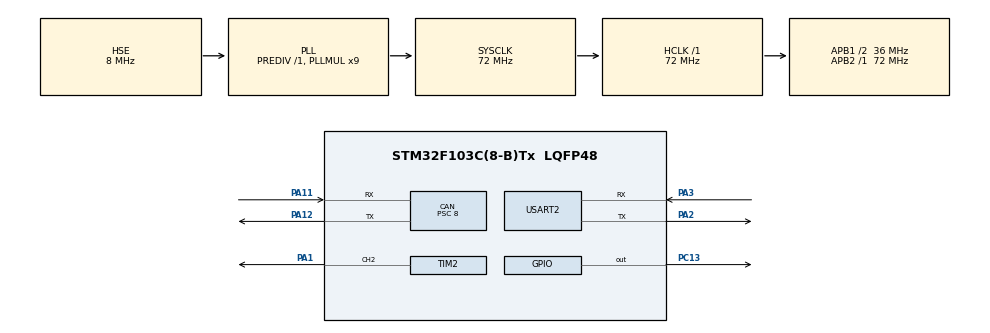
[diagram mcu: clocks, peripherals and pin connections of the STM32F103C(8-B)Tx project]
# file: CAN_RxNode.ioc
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CAN.BS1=CAN_BS1_15TQ
CAN.BS2=CAN_BS2_2TQ
CAN.CalculateBaudRate=250000
CAN.CalculateTimeBit=4000
CAN.CalculateTimeQuantum=222.22222222222223
CAN.Prescaler=8
CAN.RFLM=DISABLE
Mcu.Family=STM32F1
Mcu.Name=STM32F103C(8-B)Tx
Mcu.Package=LQFP48
NVIC.PriorityGroup=NVIC_PRIORITYGROUP_4
NVIC.USB_LP_CAN1_RX0_IRQn=true\:0\:0\:false\:false\:true\:true\:true\:true
PA1.Signal=S_TIM2_CH2
PA11.Mode=CAN_Activate
PA11.Signal=CAN_RX
PA12.Mode=CAN_Activate
PA12.Signal=CAN_TX
PA13.Mode=Serial_Wire
PA13.Signal=SYS_JTMS-SWDIO
PA14.Mode=Serial_Wire
PA14.Signal=SYS_JTCK-SWCLK
PA2.Mode=Asynchronous
PA2.Signal=USART2_TX
PA3.Mode=Asynchronous
PA3.Signal=USART2_RX
PC13-TAMPER-RTC.PinState=GPIO_PIN_SET
PC13-TAMPER-RTC.Signal=GPIO_Output
PD0-OSC_IN.Mode=HSE-External-Oscillator
PD0-OSC_IN.Signal=RCC_OSC_IN
PD1-OSC_OUT.Mode=HSE-External-Oscillator
PD1-OSC_OUT.Signal=RCC_OSC_OUT
ProjectManager.HeapSize=0x200
ProjectManager.StackSize=0x400
ProjectManager.TargetToolchain=CMake
RCC.AHBFreq_Value=72000000
RCC.APB1CLKDivider=RCC_HCLK_DIV2
RCC.APB1Freq_Value=36000000
RCC.APB1TimFreq_Value=72000000
RCC.APB2Freq_Value=72000000
RCC.APB2TimFreq_Value=72000000
RCC.HCLKFreq_Value=72000000
RCC.PLLMUL=RCC_PLL_MUL9
RCC.PLLSourceVirtual=RCC_PLLSOURCE_HSE
RCC.SYSCLKFreq_VALUE=72000000
RCC.SYSCLKSource=RCC_SYSCLKSOURCE_PLLCLK
RCC.USBFreq_Value=72000000
SH.S_TIM2_CH2.0=TIM2_CH2,PWM Generation2 CH2
TIM2.AutoReloadPreload=TIM_AUTORELOAD_PRELOAD_ENABLE
TIM2.Channel-PWM\ Generation2\ CH2=TIM_CHANNEL_2
TIM2.Period=19999
TIM2.Prescaler=71
USART2.VirtualMode=VM_ASYNC
VP_TIM2_VS_ClockSourceINT.Mode=Internal
board=custom

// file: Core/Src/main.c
/* USER CODE BEGIN Header */
/**
  ******************************************************************************
  * @file           : main.c
  * @brief          : Main program body
  ******************************************************************************
  * @attention
  *
  * Copyright (c) 2025 STMicroelectronics.
  * All rights reserved.
  *
  * This software is licensed under terms that can be found in the LICENSE file
  * in the root directory of this software component.
  * If no LICENSE file comes with this software, it is provided AS-IS.
  *
  ******************************************************************************
  */
/* USER CODE END Header */
#include "main.h"

CAN_HandleTypeDef hcan;

TIM_HandleTypeDef htim2;

UART_HandleTypeDef huart2;

void SystemClock_Config(void);
static void MX_GPIO_Init(void);
static void MX_CAN_Init(void);
static void MX_USART2_UART_Init(void);
static void MX_TIM2_Init(void);

/* USER CODE BEGIN 0 */
void CAN_Init_Filter(void)
{
  CAN_FilterTypeDef sFilterConfig;
  sFilterConfig.FilterBank = 0;
  sFilterConfig.FilterMode = CAN_FILTERMODE_IDMASK;
  sFilterConfig.FilterScale = CAN_FILTERSCALE_32BIT;
  sFilterConfig.FilterIdHigh = 0x123 << 5;  // Standard ID left-aligned in 32-bit register
  sFilterConfig.FilterIdLow = 0x0000;
  sFilterConfig.FilterMaskIdHigh = 0x1FFF << 5;  // Check all 11 bits of STD ID
  sFilterConfig.FilterMaskIdLow = 0x0000;
  sFilterConfig.FilterFIFOAssignment = CAN_FILTER_FIFO0;
  sFilterConfig.FilterActivation = ENABLE;
  sFilterConfig.SlaveStartFilterBank = 14;

  if (HAL_CAN_ConfigFilter(&hcan, &sFilterConfig) != HAL_OK)
  {
    Error_Handler();
  }
}
/* USER CODE END 0 */

int main(void)
{

  /* MCU Configuration--------------------------------------------------------*/

  /* Reset of all peripherals, Initializes the Flash interface and the Systick. */
  HAL_Init();

  /* Configure the system clock */
  SystemClock_Config();

  /* Initialize all configured peripherals */
  MX_GPIO_Init();
   HAL_NVIC_SetPriority(CAN1_RX0_IRQn, 0, 0);
  HAL_NVIC_EnableIRQ(CAN1_RX0_IRQn);
  MX_CAN_Init();
  MX_USART2_UART_Init();
  MX_TIM2_Init();
  /* USER CODE BEGIN 2 */
  CAN_Init_Filter();
  HAL_CAN_Start(&hcan);
  HAL_CAN_ActivateNotification(&hcan, CAN_IT_RX_FIFO0_MSG_PENDING);
  HAL_UART_Transmit(&huart2, (uint8_t*)"CAN RX Ready\r\n", 14, HAL_MAX_DELAY);
  HAL_TIM_PWM_Start(&htim2, TIM_CHANNEL_2);

  /* USER CODE END 2 */

  /* Infinite loop */
  while (1)
  {

  }
}

void SystemClock_Config(void)
{
  RCC_OscInitTypeDef RCC_OscInitStruct = {0};
  RCC_ClkInitTypeDef RCC_ClkInitStruct = {0};

  /** Initializes the RCC Oscillators according to the specified parameters
  * in the RCC_OscInitTypeDef structure.
  */
  RCC_OscInitStruct.OscillatorType = RCC_OSCILLATORTYPE_HSE;
  RCC_OscInitStruct.HSEState = RCC_HSE_ON;
  RCC_OscInitStruct.HSEPredivValue = RCC_HSE_PREDIV_DIV1;
  RCC_OscInitStruct.HSIState = RCC_HSI_ON;
  RCC_OscInitStruct.PLL.PLLState = RCC_PLL_ON;
  RCC_OscInitStruct.PLL.PLLSource = RCC_PLLSOURCE_HSE;
  RCC_OscInitStruct.PLL.PLLMUL = RCC_PLL_MUL9;
  if (HAL_RCC_OscConfig(&RCC_OscInitStruct) != HAL_OK)
  {
    Error_Handler();
  }

  /** Initializes the CPU, AHB and APB buses clocks
  */
  RCC_ClkInitStruct.ClockType = RCC_CLOCKTYPE_HCLK|RCC_CLOCKTYPE_SYSCLK
                              |RCC_CLOCKTYPE_PCLK1|RCC_CLOCKTYPE_PCLK2;
  RCC_ClkInitStruct.SYSCLKSource = RCC_SYSCLKSOURCE_PLLCLK;
  RCC_ClkInitStruct.AHBCLKDivider = RCC_SYSCLK_DIV1;
  RCC_ClkInitStruct.APB1CLKDivider = RCC_HCLK_DIV2;
  RCC_ClkInitStruct.APB2CLKDivider = RCC_HCLK_DIV1;

  if (HAL_RCC_ClockConfig(&RCC_ClkInitStruct, FLASH_LATENCY_2) != HAL_OK)
  {
    Error_Handler();
  }
}

static void MX_CAN_Init(void)
{

  hcan.Instance = CAN1;
  hcan.Init.Prescaler = 8;
  hcan.Init.Mode = CAN_MODE_NORMAL;
  hcan.Init.SyncJumpWidth = CAN_SJW_1TQ;
  hcan.Init.TimeSeg1 = CAN_BS1_15TQ;
  hcan.Init.TimeSeg2 = CAN_BS2_2TQ;
  hcan.Init.TimeTriggeredMode = DISABLE;
  hcan.Init.AutoBusOff = DISABLE;
  hcan.Init.AutoWakeUp = DISABLE;
  hcan.Init.AutoRetransmission = DISABLE;
  hcan.Init.ReceiveFifoLocked = DISABLE;
  hcan.Init.TransmitFifoPriority = DISABLE;
  if (HAL_CAN_Init(&hcan) != HAL_OK)
  {
    Error_Handler();
  }

}

static void MX_TIM2_Init(void)
{

  TIM_ClockConfigTypeDef sClockSourceConfig = {0};
  TIM_MasterConfigTypeDef sMasterConfig = {0};
  TIM_OC_InitTypeDef sConfigOC = {0};

  htim2.Instance = TIM2;
  htim2.Init.Prescaler = 71;
  htim2.Init.CounterMode = TIM_COUNTERMODE_UP;
  htim2.Init.Period = 19999;
  htim2.Init.ClockDivision = TIM_CLOCKDIVISION_DIV1;
  htim2.Init.AutoReloadPreload = TIM_AUTORELOAD_PRELOAD_ENABLE;
  if (HAL_TIM_Base_Init(&htim2) != HAL_OK)
  {
    Error_Handler();
  }
  sClockSourceConfig.ClockSource = TIM_CLOCKSOURCE_INTERNAL;
  if (HAL_TIM_ConfigClockSource(&htim2, &sClockSourceConfig) != HAL_OK)
  {
    Error_Handler();
  }
  if (HAL_TIM_PWM_Init(&htim2) != HAL_OK)
  {
    Error_Handler();
  }
  sMasterConfig.MasterOutputTrigger = TIM_TRGO_RESET;
  sMasterConfig.MasterSlaveMode = TIM_MASTERSLAVEMODE_DISABLE;
  if (HAL_TIMEx_MasterConfigSynchronization(&htim2, &sMasterConfig) != HAL_OK)
  {
    Error_Handler();
  }
  sConfigOC.OCMode = TIM_OCMODE_PWM1;
  sConfigOC.Pulse = 0;
  sConfigOC.OCPolarity = TIM_OCPOLARITY_HIGH;
  sConfigOC.OCFastMode = TIM_OCFAST_DISABLE;
  if (HAL_TIM_PWM_ConfigChannel(&htim2, &sConfigOC, TIM_CHANNEL_2) != HAL_OK)
  {
    Error_Handler();
  }
  HAL_TIM_MspPostInit(&htim2);

}

static void MX_USART2_UART_Init(void)
{

  huart2.Instance = USART2;
  huart2.Init.BaudRate = 115200;
  huart2.Init.WordLength = UART_WORDLENGTH_8B;
  huart2.Init.StopBits = UART_STOPBITS_1;
  huart2.Init.Parity = UART_PARITY_NONE;
  huart2.Init.Mode = UART_MODE_TX_RX;
  huart2.Init.HwFlowCtl = UART_HWCONTROL_NONE;
  huart2.Init.OverSampling = UART_OVERSAMPLING_16;
  if (HAL_UART_Init(&huart2) != HAL_OK)
  {
    Error_Handler();
  }

}

static void MX_GPIO_Init(void)
{
  GPIO_InitTypeDef GPIO_InitStruct = {0};

  /* GPIO Ports Clock Enable */
  __HAL_RCC_GPIOC_CLK_ENABLE();
  __HAL_RCC_GPIOD_CLK_ENABLE();
  __HAL_RCC_GPIOA_CLK_ENABLE();

  /*Configure GPIO pin Output Level */
  HAL_GPIO_WritePin(GPIOC, GPIO_PIN_13, GPIO_PIN_SET);

  /*Configure GPIO pin : PC13 */
  GPIO_InitStruct.Pin = GPIO_PIN_13;
  GPIO_InitStruct.Mode = GPIO_MODE_OUTPUT_PP;
  GPIO_InitStruct.Pull = GPIO_NOPULL;
  GPIO_InitStruct.Speed = GPIO_SPEED_FREQ_LOW;
  HAL_GPIO_Init(GPIOC, &GPIO_InitStruct);

  /* USER CODE BEGIN MX_GPIO_Init_2 */
   GPIO_InitStruct.Pin = GPIO_PIN_1;
    GPIO_InitStruct.Mode = GPIO_MODE_AF_PP; // Alternate Function Push-Pull
    GPIO_InitStruct.Speed = GPIO_SPEED_FREQ_LOW;
    HAL_GPIO_Init(GPIOA, &GPIO_InitStruct);

  /* USER CODE END MX_GPIO_Init_2 */
}

/* USER CODE BEGIN 4 */
void HAL_CAN_RxFifo0MsgPendingCallback(CAN_HandleTypeDef *hcan)
{
  CAN_RxHeaderTypeDef RxHeader;
  uint8_t RxData[8];

  if (HAL_CAN_GetRxMessage(hcan, CAN_RX_FIFO0, &RxHeader, RxData) == HAL_OK)
  {
    // 1. Filter by message ID (0x123)
    if (RxHeader.StdId != 0x123) {
      return; // Ignore messages with wrong ID
    }

    // 2. Verify data length
    if (RxHeader.DLC < 3) {
      const char *errorMsg = "Invalid DLC!\r\n";
      HAL_UART_Transmit(&huart2, (uint8_t*)errorMsg, strlen(errorMsg), HAL_MAX_DELAY);
      return;
    }

    // 3. Process angle data
    char angleStr[4] = {0};
    memcpy(angleStr, RxData, 3); // Copy exactly 3 bytes
    int angle = atoi(angleStr);  // Convert string to int

    // 4. Clamp angle between 0 and 180 for servo safety
    if (angle < 0) angle = 0;
    if (angle > 180) angle = 180;

    // 5. Convert angle to PWM pulse width
    uint32_t pulse = 1000 + (angle * 1000) / 180;

    // 6. Update servo position
    __HAL_TIM_SET_COMPARE(&htim2, TIM_CHANNEL_2, pulse);

    // 7. Log to UART
    char msg[64];
    snprintf(msg, sizeof(msg), "ID:0x%X Angle:%d Pulse:%lu\r\n",
             RxHeader.StdId, angle, pulse);
    HAL_UART_Transmit(&huart2, (uint8_t*)msg, strlen(msg), HAL_MAX_DELAY);
  }
}

/* USER CODE END 4 */

void Error_Handler(void)
{
  __disable_irq();
  while (1)
  {
  }
}
